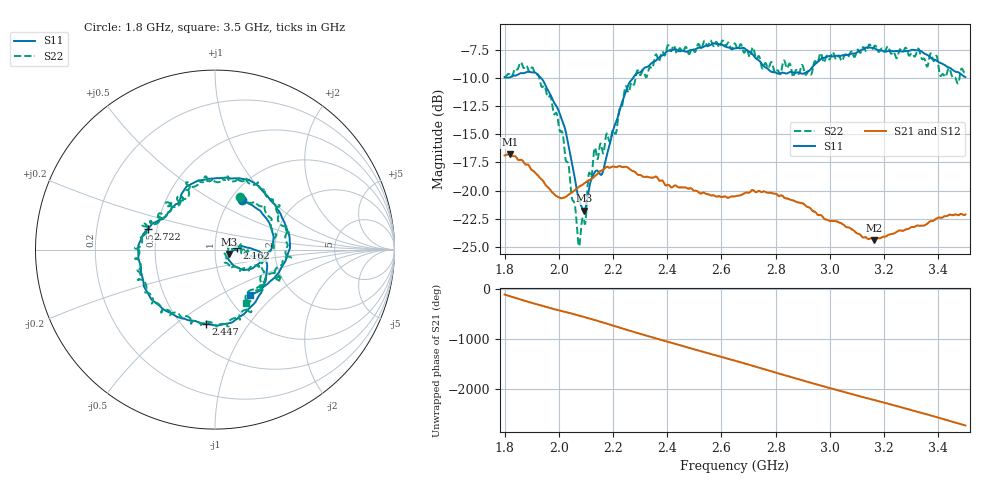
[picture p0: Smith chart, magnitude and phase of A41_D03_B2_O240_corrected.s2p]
! Created with skrf 1.9.0 (http://scikit-rf.org).
# Hz S RI R 50.0
!freq ReS11 ImS11 ReS21 ImS21 ReS12 ImS12 ReS22 ImS22
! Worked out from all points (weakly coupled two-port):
!   1601 points, 1.8 GHz to 3.5 GHz, reference 50 ohm
!   highest |S21| = -16.78 dB at 1.819 GHz (marker M1); lowest = -24.4 dB at 3.163 GHz (marker M2)
!   lowest |S11| = -21.8 dB at 2.093 GHz (marker M3), VSWR 1.18, Z = 58.4 - j2.87 ohm
!   |S11| at or under -10 dB: 1.934 GHz to 2.274 GHz (340.7 MHz wide, 16.2 % of centre)
!   |S22| runs from -24.9 to -6.7 dB; largest |S21 - S12| = 0.0025
!   S11 on the Smith chart (normalised r, x): 1.8 GHz: 1.13, +0.70; 2.162 GHz: 1.27, +0.02; 2.447 GHz: 0.65, -0.65; 2.722 GHz: 0.45, +0.12; 3.5 GHz: 1.26, -0.71
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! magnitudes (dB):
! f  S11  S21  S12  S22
! 1.8 GHz  -10.0  -16.9  -16.9  -9.8
! 1.819 GHz  -10.0  -16.8  -16.8  -9.7
! 1.903 GHz  -9.5  -18.2  -18.2  -9.1
! 1.968 GHz  -11.4  -19.9  -20.0  -11.6
! 2.014 GHz  -13.9  -20.7  -20.7  -14.9
! 2.072 GHz  -20.6  -19.7  -19.7  -24.7
! 2.084 GHz  -21.4  -19.5  -19.5  -23.0
! 2.093 GHz  -21.8  -19.4  -19.4  -22.7
! 2.13 GHz  -18.4  -18.8  -18.8  -16.4
! 2.162 GHz  -18.3  -18.2  -18.1  -16.7
! 2.258 GHz  -10.5  -18.0  -18.0  -11.3
! 2.367 GHz  -8.3  -19.0  -18.9  -8.5
! 2.447 GHz  -7.6  -19.7  -19.7  -7.4
! 2.65 GHz  -7.4  -20.5  -20.5  -7.0
! 2.722 GHz  -8.2  -20.1  -20.0  -7.8
! 2.808 GHz  -9.6  -20.4  -20.4  -9.3
! 2.934 GHz  -9.1  -21.7  -21.7  -9.6
! 3.163 GHz  -7.4  -24.4  -24.3  -7.2
! 3.217 GHz  -7.6  -23.9  -23.9  -7.3
! 3.391 GHz  -8.4  -22.5  -22.5  -8.1
! 3.469 GHz  -9.5  -22.1  -22.1  -10.4
! 3.5 GHz  -9.9  -22.1  -22.1  -9.3
